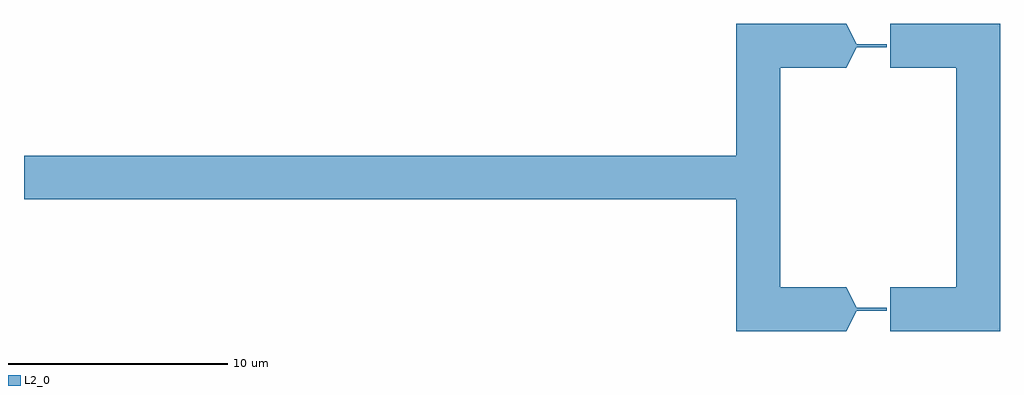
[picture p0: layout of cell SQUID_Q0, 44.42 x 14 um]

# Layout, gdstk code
import gdstk
lib = gdstk.Library(unit=1e-6, precision=1e-09)
def R(c, l, rs):  # rectangles x0, y0, x1, y1
    for r in rs: c.add(gdstk.rectangle(r[:2], r[2:], *l))
def P(c, l, *ps):  # polygons
    for p in ps: c.add(gdstk.Polygon(p, *l))
L2_0 = (2, 0)

squid_q0 = lib.new_cell('SQUID_Q0')
R(squid_q0, L2_0, [(9.208,-7,11.208,7), (11.208,-7,14.213,-5), (16.203,-7,19.208,-5), (19.208,-7,21.208,7), (14.693,-6.068,16.053,-5.932), (-23.208,-1,9.208,1), (11.208,5,14.213,7), (16.203,5,19.208,7), (14.693,5.932,16.053,6.068)])
P(squid_q0, L2_0, [(14.213,-7),(14.693,-6.068),(14.693,-5.932),(14.213,-5)],
  [(14.213,5),(14.693,5.932),(14.693,6.068),(14.213,7)])

lib.write_gds('SQUID_Q0.gds')
